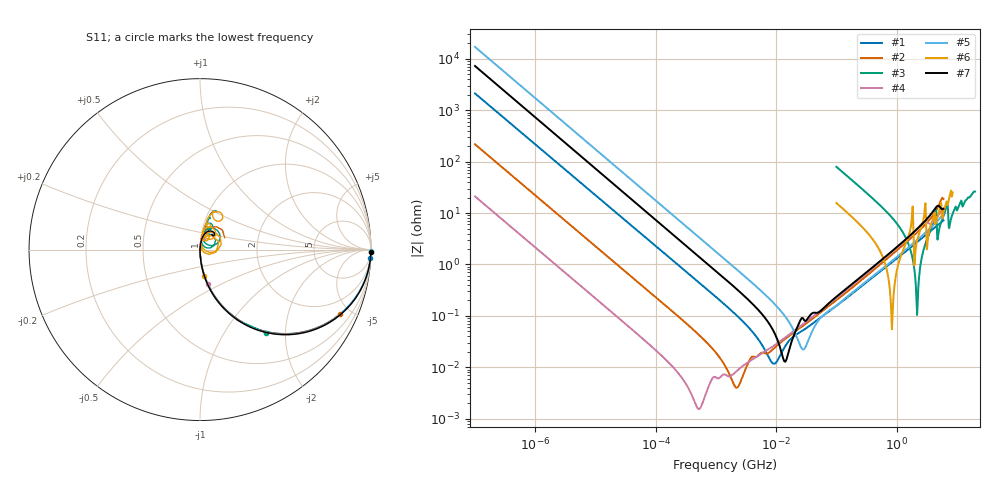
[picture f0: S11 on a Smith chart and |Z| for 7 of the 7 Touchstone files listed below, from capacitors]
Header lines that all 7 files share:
!These Parameters are Measured in Series Mode Connection
!  o--ll--o
!Port1  Port2
!  o------o
!Operation Temp=25[degC], DC Bias Voltage=0[V]
# Hz S RI R 50
!Freq.(Hz) S11(Real) S11(Imag) S21(Real) S21(Imag) S12(Real) S12(Imag) S22(Real) S22(Imag)
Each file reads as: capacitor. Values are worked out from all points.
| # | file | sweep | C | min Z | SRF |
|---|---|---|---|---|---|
| 1 | 1u - GRM155C71C105ME11_DC0V_25degC_series.s2p | 100 Hz to 6 GHz | 749 nF | 11.7 mohm | 9.496 MHz |
| 2 | 10u - GRT21BC71C106KE13_DC0V_25degC_series.s2p | 100 Hz to 6 GHz | 7.31 uF | 4.02 mohm | 2.266 MHz |
| 3 | 22p - GQM1555G2D200JB01_DC0V_25degC_series.s2p | 100 MHz to 20 GHz | 20 pF | 104 mohm | 2.19 GHz |
| 4 | 47u - GCM32ED70E107ME36_DC0V_25degC_series.s2p | 100 Hz to 6 GHz | 75.4 uF | 1.54 mohm | 536.9 kHz |
| 5 | 100n - GCM155R71H104KE02_DC0V_25degC_series.s2p | 100 Hz to 6 GHz | 93.4 nF | 22.1 mohm | 28.59 MHz |
| 6 | 100p - GQM1875C2E101GB12_DC0V_25degC_series.s2p | 100 MHz to 8.5 GHz | 99.8 pF | 55 mohm | 837.1 MHz |
| 7 | 220n - GCM21BR71H224KA37_DC0V_25degC_series.s2p | 100 Hz to 6 GHz | 220 nF | 12.9 mohm | 14.15 MHz |
